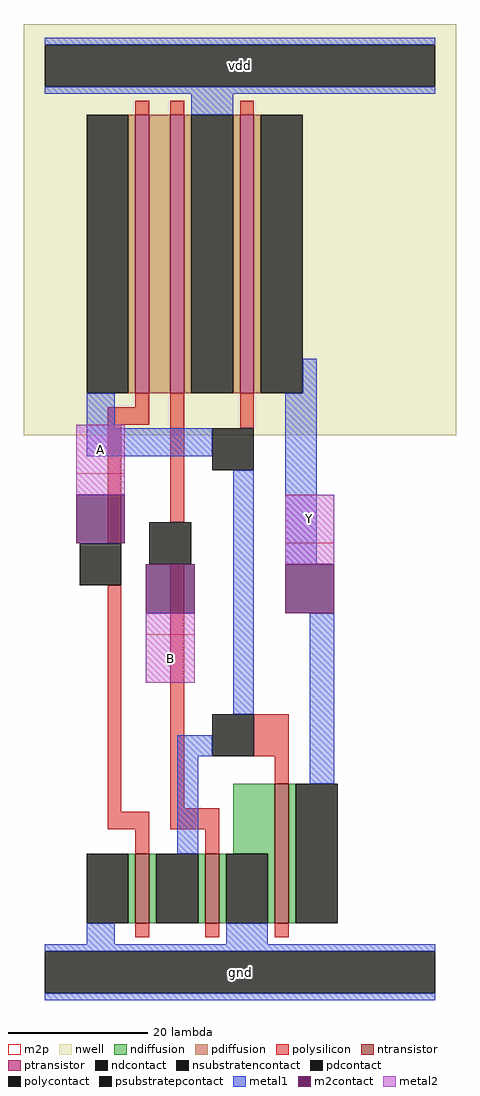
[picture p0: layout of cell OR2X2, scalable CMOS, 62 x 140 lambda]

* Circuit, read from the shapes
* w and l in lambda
.subckt OR2X2 A B Y vdd gnd
M1 n1 A gnd gnd nfet w=10 l=2
M2 gnd B n1 gnd nfet w=10 l=2
M3 Y n1 gnd gnd nfet w=20 l=2
M4 n2 A n1 vdd pfet w=40 l=2
M5 vdd B n2 vdd pfet w=40 l=2
M6 Y n1 vdd vdd pfet w=40 l=2
.ends

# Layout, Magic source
magic
tech scmos
magscale 1 2
<< nwell >>
rect -12 154 112 272
<< ntransistor >>
rect 20 14 24 34
rect 40 14 44 34
rect 60 14 64 54
<< ptransistor >>
rect 20 166 24 246
rect 30 166 34 246
rect 50 166 54 246
<< ndiffusion >>
rect 48 34 60 54
rect 18 14 20 34
rect 24 14 26 34
rect 38 14 40 34
rect 44 14 46 34
rect 58 14 60 34
rect 64 14 66 54
<< pdiffusion >>
rect 18 166 20 246
rect 24 166 30 246
rect 34 166 36 246
rect 48 166 50 246
rect 54 166 56 246
<< ndcontact >>
rect 6 14 18 34
rect 26 14 38 34
rect 46 14 58 34
rect 66 14 78 54
<< pdcontact >>
rect 6 166 18 246
rect 36 166 48 246
rect 56 166 68 246
<< psubstratepcontact >>
rect -6 -6 106 6
<< nsubstratencontact >>
rect -6 254 106 266
<< polysilicon >>
rect 20 246 24 250
rect 30 246 34 250
rect 50 246 54 250
rect 20 162 24 166
rect 12 157 24 162
rect 12 123 16 157
rect 30 129 34 166
rect 50 156 54 166
rect 12 46 16 111
rect 30 47 34 117
rect 54 62 64 74
rect 60 54 64 62
rect 12 41 24 46
rect 30 41 44 47
rect 20 34 24 41
rect 40 34 44 41
rect 20 10 24 14
rect 40 10 44 14
rect 60 10 64 14
<< polycontact >>
rect 42 144 54 156
rect 4 111 16 123
rect 24 117 36 129
rect 42 62 54 74
<< metal1 >>
rect -6 266 106 268
rect -6 252 106 254
rect 36 246 48 252
rect 68 166 72 176
rect 6 156 14 166
rect 6 148 42 156
rect 48 74 54 144
rect 63 117 72 166
rect 32 62 42 68
rect 32 34 38 62
rect 70 54 77 103
rect 6 8 14 14
rect 46 8 58 14
rect -6 6 106 8
rect -6 -8 106 -6
<< m2contact >>
rect 3 123 17 137
rect 23 103 37 117
rect 63 103 77 117
<< metal2 >>
rect 3 137 17 157
rect 63 117 77 137
rect 23 83 37 103
<< m2p >>
rect 3 143 17 157
rect 63 123 77 137
rect 23 83 37 97
<< labels >>
rlabel metal2 3 143 17 157 0 A
port 0 nsew signal input
rlabel metal2 23 83 37 97 0 B
port 1 nsew signal input
rlabel metal2 63 123 77 137 0 Y
port 2 nsew signal output
rlabel metal1 -6 252 106 268 0 vdd
port 3 nsew power bidirectional abutment
rlabel metal1 -6 -8 106 8 0 gnd
port 4 nsew ground bidirectional abutment
<< properties >>
string FIXED_BBOX 0 0 100 260
string LEFclass CORE
string LEFsite core
string LEFsymmetry X Y
<< end >>
